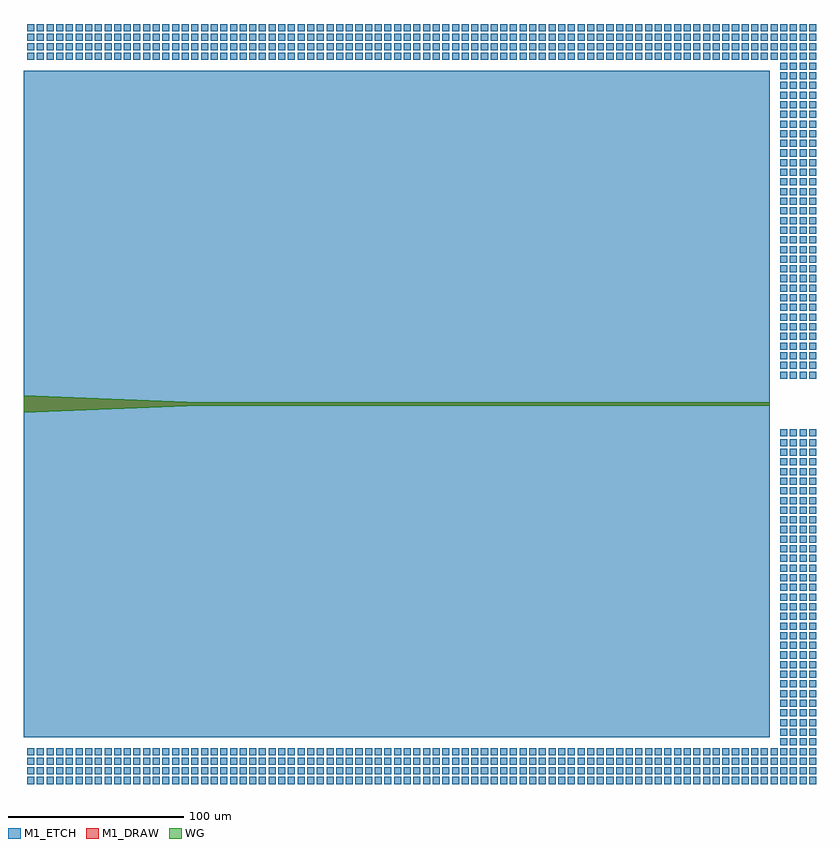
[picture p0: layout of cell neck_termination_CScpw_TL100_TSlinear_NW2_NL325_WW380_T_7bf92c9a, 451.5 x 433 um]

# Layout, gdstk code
import gdstk
lib = gdstk.Library(unit=1e-6, precision=1e-09)
def R(c, l, rs):  # rectangles x0, y0, x1, y1
    for r in rs: c.add(gdstk.rectangle(r[:2], r[2:], *l))
def A(c, l, x, y, w, h, nx, ny, dx, dy):  # array of equal rectangles
    R(c, l, [(x+i*dx, y+j*dy, x+i*dx+w, y+j*dy+h) for i in range(nx) for j in range(ny)])
def P(c, l, *ps):  # polygons
    for p in ps: c.add(gdstk.Polygon(p, *l))
M1_DRAW = (1, 0)
M1_ETCH = (1, 1)
WG = (102, 0)

neck_termination_cscpw_t = lib.new_cell('neck_termination_CScpw_TL100_TSlinear_NW2_NL325_WW380_T_7bf92c9a')
P(neck_termination_cscpw_t, M1_DRAW, [(0,-5),(0,5),(100,1),(425,1),(425,-1),(100,-1)])
A(neck_termination_cscpw_t, M1_ETCH, 2, -216.5, 4, 4, 82, 4, 5.5, 5.5)
A(neck_termination_cscpw_t, M1_ETCH, 431, -194.5, 4, 4, 4, 33, 5.5, 5.5)
A(neck_termination_cscpw_t, M1_ETCH, 431, 14.5, 4, 4, 4, 33, 5.5, 5.5)
A(neck_termination_cscpw_t, M1_ETCH, 2, 196, 4, 4, 82, 4, 5.5, 5.5)
R(neck_termination_cscpw_t, M1_ETCH, [(0,-190,425,190)])
P(neck_termination_cscpw_t, WG, [(0,-5),(0,5),(100,1),(425,1),(425,-1),(100,-1)])

lib.write_gds('neck_termination_CScpw_TL100_TSlinear_NW2_NL325_WW380_T_7bf92c9a.gds')
